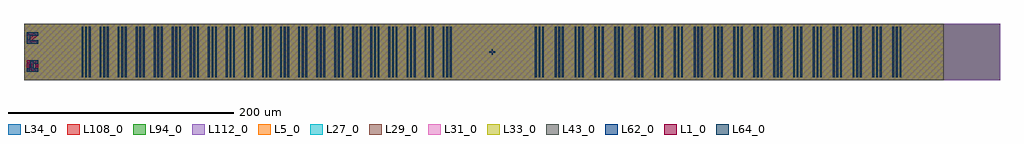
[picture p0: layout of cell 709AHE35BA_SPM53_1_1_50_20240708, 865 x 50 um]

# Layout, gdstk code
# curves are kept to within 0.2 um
from math import pi, radians
import gdstk
lib = gdstk.Library(unit=1e-6, precision=1e-09)
def R(c, l, rs):  # rectangles x0, y0, x1, y1
    for r in rs: c.add(gdstk.rectangle(r[:2], r[2:], *l))
def A(c, l, x, y, w, h, nx, ny, dx, dy):  # array of equal rectangles
    R(c, l, [(x+i*dx, y+j*dy, x+i*dx+w, y+j*dy+h) for i in range(nx) for j in range(ny)])
def P(c, l, *ps):  # polygons
    for p in ps: c.add(gdstk.Polygon(p, *l))
L1_0 = (1, 0)
L5_0 = (5, 0)
L27_0 = (27, 0)
L29_0 = (29, 0)
L31_0 = (31, 0)
L33_0 = (33, 0)
L34_0 = (34, 0)
L43_0 = (43, 0)
L62_0 = (62, 0)
L64_0 = (64, 0)
L94_0 = (94, 0)
L108_0 = (108, 0)
L112_0 = (112, 0)

spm53_800_50_1_6_45_0_t_ = lib.new_cell('SPM53_800_50_1_6_45_0_T_1_T')
A(spm53_800_50_1_6_45_0_t_, L1_0, 51, 2.5, 1.6, 45, 3, 1, 3.2, 0)
A(spm53_800_50_1_6_45_0_t_, L1_0, 67, 2.5, 1.6, 45, 3, 1, 3.2, 0)
A(spm53_800_50_1_6_45_0_t_, L1_0, 83, 2.5, 1.6, 45, 3, 1, 3.2, 0)
A(spm53_800_50_1_6_45_0_t_, L1_0, 99, 2.5, 1.6, 45, 3, 1, 3.2, 0)
A(spm53_800_50_1_6_45_0_t_, L1_0, 115, 2.5, 1.6, 45, 3, 1, 3.2, 0)
A(spm53_800_50_1_6_45_0_t_, L1_0, 131, 2.5, 1.6, 45, 3, 1, 3.2, 0)
A(spm53_800_50_1_6_45_0_t_, L1_0, 147, 2.5, 1.6, 45, 3, 1, 3.2, 0)
A(spm53_800_50_1_6_45_0_t_, L1_0, 163, 2.5, 1.6, 45, 3, 1, 3.2, 0)
A(spm53_800_50_1_6_45_0_t_, L1_0, 179, 2.5, 1.6, 45, 3, 1, 3.2, 0)
A(spm53_800_50_1_6_45_0_t_, L1_0, 195, 2.5, 1.6, 45, 3, 1, 3.2, 0)
A(spm53_800_50_1_6_45_0_t_, L1_0, 211, 2.5, 1.6, 45, 3, 1, 3.2, 0)
A(spm53_800_50_1_6_45_0_t_, L1_0, 227, 2.5, 1.6, 45, 3, 1, 3.2, 0)
A(spm53_800_50_1_6_45_0_t_, L1_0, 243, 2.5, 1.6, 45, 3, 1, 3.2, 0)
A(spm53_800_50_1_6_45_0_t_, L1_0, 259, 2.5, 1.6, 45, 3, 1, 3.2, 0)
A(spm53_800_50_1_6_45_0_t_, L1_0, 275, 2.5, 1.6, 45, 3, 1, 3.2, 0)
A(spm53_800_50_1_6_45_0_t_, L1_0, 291, 2.5, 1.6, 45, 3, 1, 3.2, 0)
A(spm53_800_50_1_6_45_0_t_, L1_0, 307, 2.5, 1.6, 45, 3, 1, 3.2, 0)
A(spm53_800_50_1_6_45_0_t_, L1_0, 323, 2.5, 1.6, 45, 3, 1, 3.2, 0)
A(spm53_800_50_1_6_45_0_t_, L1_0, 339, 2.5, 1.6, 45, 3, 1, 3.2, 0)
A(spm53_800_50_1_6_45_0_t_, L1_0, 355, 2.5, 1.6, 45, 3, 1, 3.2, 0)
A(spm53_800_50_1_6_45_0_t_, L1_0, 371, 2.5, 1.6, 45, 3, 1, 3.2, 0)
A(spm53_800_50_1_6_45_0_t_, L1_0, 452.8, 2.5, 1.6, 45, 3, 1, 3.2, 0)
A(spm53_800_50_1_6_45_0_t_, L1_0, 470.4, 2.5, 1.6, 45, 3, 1, 3.2, 0)
A(spm53_800_50_1_6_45_0_t_, L1_0, 488, 2.5, 1.6, 45, 3, 1, 3.2, 0)
A(spm53_800_50_1_6_45_0_t_, L1_0, 505.6, 2.5, 1.6, 45, 3, 1, 3.2, 0)
A(spm53_800_50_1_6_45_0_t_, L1_0, 523.2, 2.5, 1.6, 45, 3, 1, 3.2, 0)
A(spm53_800_50_1_6_45_0_t_, L1_0, 540.8, 2.5, 1.6, 45, 3, 1, 3.2, 0)
A(spm53_800_50_1_6_45_0_t_, L1_0, 558.4, 2.5, 1.6, 45, 3, 1, 3.2, 0)
A(spm53_800_50_1_6_45_0_t_, L1_0, 576, 2.5, 1.6, 45, 3, 1, 3.2, 0)
A(spm53_800_50_1_6_45_0_t_, L1_0, 593.6, 2.5, 1.6, 45, 3, 1, 3.2, 0)
A(spm53_800_50_1_6_45_0_t_, L1_0, 611.2, 2.5, 1.6, 45, 3, 1, 3.2, 0)
A(spm53_800_50_1_6_45_0_t_, L1_0, 628.8, 2.5, 1.6, 45, 3, 1, 3.2, 0)
A(spm53_800_50_1_6_45_0_t_, L1_0, 646.4, 2.5, 1.6, 45, 3, 1, 3.2, 0)
A(spm53_800_50_1_6_45_0_t_, L1_0, 664, 2.5, 1.6, 45, 3, 1, 3.2, 0)
A(spm53_800_50_1_6_45_0_t_, L1_0, 681.6, 2.5, 1.6, 45, 3, 1, 3.2, 0)
A(spm53_800_50_1_6_45_0_t_, L1_0, 699.2, 2.5, 1.6, 45, 3, 1, 3.2, 0)
A(spm53_800_50_1_6_45_0_t_, L1_0, 716.8, 2.5, 1.6, 45, 3, 1, 3.2, 0)
A(spm53_800_50_1_6_45_0_t_, L1_0, 734.4, 2.5, 1.6, 45, 3, 1, 3.2, 0)
A(spm53_800_50_1_6_45_0_t_, L1_0, 752, 2.5, 1.6, 45, 3, 1, 3.2, 0)
A(spm53_800_50_1_6_45_0_t_, L1_0, 769.6, 2.5, 1.6, 45, 3, 1, 3.2, 0)
P(spm53_800_50_1_6_45_0_t_, L1_0, [(415.5,24.5),(417.5,24.5),(417.5,25.5),(415.5,25.5),(415.5,27.5),(414.5,27.5),(414.5,25.5),(412.5,25.5),(412.5,24.5),(414.5,24.5),(414.5,22.5),(415.5,22.5)])
R(spm53_800_50_1_6_45_0_t_, L5_0, [(15,0,815,50)])
R(spm53_800_50_1_6_45_0_t_, L27_0, [(15,0,815,50)])
R(spm53_800_50_1_6_45_0_t_, L29_0, [(15,0,815,50)])
R(spm53_800_50_1_6_45_0_t_, L31_0, [(15,0,815,50)])
R(spm53_800_50_1_6_45_0_t_, L33_0, [(15,0,815,50)])
R(spm53_800_50_1_6_45_0_t_, L34_0, [(15,0,865,50)])
R(spm53_800_50_1_6_45_0_t_, L43_0, [(15,0,815,50)])
R(spm53_800_50_1_6_45_0_t_, L94_0, [(15,0,865,50)])
R(spm53_800_50_1_6_45_0_t_, L108_0, [(15,0,865,50)])
R(spm53_800_50_1_6_45_0_t_, L112_0, [(15,0,865,50)])

c_spm53_800_50_1_6_45_0_t_ = lib.new_cell('SPM53_800_50_1_6_45_0_T_1_name')
P(c_spm53_800_50_1_6_45_0_t_, L1_0, [(10,8.5),(15,2.5),(17.5,2.5),(17.5,12.5),(15,12.5),(15,6.5),(10,12.5),(7.5,12.5),(7.5,2.5),(10,2.5)],
  [(41.5,2.5),(42.5,3.5),(42.5,6.5),(41.5,7.5),(42.5,8.5),(42.5,11.5),(41.5,12.5),(32.5,12.5),(32.5,8.5),(35,8.5),(35,10.5),(40,10.5),(40,8.5),(32.5,8.5),(32.5,4.5),(35,4.5),(35,6.5),(40,6.5),(40,4.5),(32.5,4.5),(32.5,2.5)])
R(c_spm53_800_50_1_6_45_0_t_, L5_0, [(0,0,50,15)])
R(c_spm53_800_50_1_6_45_0_t_, L27_0, [(0,0,50,15)])
R(c_spm53_800_50_1_6_45_0_t_, L29_0, [(0,0,50,15)])
R(c_spm53_800_50_1_6_45_0_t_, L31_0, [(0,0,50,15)])
R(c_spm53_800_50_1_6_45_0_t_, L33_0, [(0,0,50,15)])
R(c_spm53_800_50_1_6_45_0_t_, L34_0, [(0,0,50,15)])
R(c_spm53_800_50_1_6_45_0_t_, L43_0, [(0,0,50,15)])
R(c_spm53_800_50_1_6_45_0_t_, L94_0, [(0,0,50,15)])
R(c_spm53_800_50_1_6_45_0_t_, L108_0, [(0,0,50,15)])
R(c_spm53_800_50_1_6_45_0_t_, L112_0, [(0,0,50,15)])

c_spm53_800_50_1_6_45_0_t__ = lib.new_cell('SPM53_800_50_1_6_45_0_T_62_T')
R(c_spm53_800_50_1_6_45_0_t__, L5_0, [(15,0,815,50)])
R(c_spm53_800_50_1_6_45_0_t__, L27_0, [(15,0,815,50)])
R(c_spm53_800_50_1_6_45_0_t__, L29_0, [(15,0,815,50)])
R(c_spm53_800_50_1_6_45_0_t__, L31_0, [(15,0,815,50)])
R(c_spm53_800_50_1_6_45_0_t__, L33_0, [(15,0,815,50)])
R(c_spm53_800_50_1_6_45_0_t__, L34_0, [(15,0,865,50)])
R(c_spm53_800_50_1_6_45_0_t__, L43_0, [(15,0,815,50)])
A(c_spm53_800_50_1_6_45_0_t__, L62_0, 51, 2.5, 1.6, 45, 3, 1, 3.2, 0)
A(c_spm53_800_50_1_6_45_0_t__, L62_0, 67, 2.5, 1.6, 45, 3, 1, 3.2, 0)
A(c_spm53_800_50_1_6_45_0_t__, L62_0, 83, 2.5, 1.6, 45, 3, 1, 3.2, 0)
A(c_spm53_800_50_1_6_45_0_t__, L62_0, 99, 2.5, 1.6, 45, 3, 1, 3.2, 0)
A(c_spm53_800_50_1_6_45_0_t__, L62_0, 115, 2.5, 1.6, 45, 3, 1, 3.2, 0)
A(c_spm53_800_50_1_6_45_0_t__, L62_0, 131, 2.5, 1.6, 45, 3, 1, 3.2, 0)
A(c_spm53_800_50_1_6_45_0_t__, L62_0, 147, 2.5, 1.6, 45, 3, 1, 3.2, 0)
A(c_spm53_800_50_1_6_45_0_t__, L62_0, 163, 2.5, 1.6, 45, 3, 1, 3.2, 0)
A(c_spm53_800_50_1_6_45_0_t__, L62_0, 179, 2.5, 1.6, 45, 3, 1, 3.2, 0)
A(c_spm53_800_50_1_6_45_0_t__, L62_0, 195, 2.5, 1.6, 45, 3, 1, 3.2, 0)
A(c_spm53_800_50_1_6_45_0_t__, L62_0, 211, 2.5, 1.6, 45, 3, 1, 3.2, 0)
A(c_spm53_800_50_1_6_45_0_t__, L62_0, 227, 2.5, 1.6, 45, 3, 1, 3.2, 0)
A(c_spm53_800_50_1_6_45_0_t__, L62_0, 243, 2.5, 1.6, 45, 3, 1, 3.2, 0)
A(c_spm53_800_50_1_6_45_0_t__, L62_0, 259, 2.5, 1.6, 45, 3, 1, 3.2, 0)
A(c_spm53_800_50_1_6_45_0_t__, L62_0, 275, 2.5, 1.6, 45, 3, 1, 3.2, 0)
A(c_spm53_800_50_1_6_45_0_t__, L62_0, 291, 2.5, 1.6, 45, 3, 1, 3.2, 0)
A(c_spm53_800_50_1_6_45_0_t__, L62_0, 307, 2.5, 1.6, 45, 3, 1, 3.2, 0)
A(c_spm53_800_50_1_6_45_0_t__, L62_0, 323, 2.5, 1.6, 45, 3, 1, 3.2, 0)
A(c_spm53_800_50_1_6_45_0_t__, L62_0, 339, 2.5, 1.6, 45, 3, 1, 3.2, 0)
A(c_spm53_800_50_1_6_45_0_t__, L62_0, 355, 2.5, 1.6, 45, 3, 1, 3.2, 0)
A(c_spm53_800_50_1_6_45_0_t__, L62_0, 371, 2.5, 1.6, 45, 3, 1, 3.2, 0)
A(c_spm53_800_50_1_6_45_0_t__, L62_0, 452.8, 2.5, 1.6, 45, 3, 1, 3.2, 0)
A(c_spm53_800_50_1_6_45_0_t__, L62_0, 470.4, 2.5, 1.6, 45, 3, 1, 3.2, 0)
A(c_spm53_800_50_1_6_45_0_t__, L62_0, 488, 2.5, 1.6, 45, 3, 1, 3.2, 0)
A(c_spm53_800_50_1_6_45_0_t__, L62_0, 505.6, 2.5, 1.6, 45, 3, 1, 3.2, 0)
A(c_spm53_800_50_1_6_45_0_t__, L62_0, 523.2, 2.5, 1.6, 45, 3, 1, 3.2, 0)
A(c_spm53_800_50_1_6_45_0_t__, L62_0, 540.8, 2.5, 1.6, 45, 3, 1, 3.2, 0)
A(c_spm53_800_50_1_6_45_0_t__, L62_0, 558.4, 2.5, 1.6, 45, 3, 1, 3.2, 0)
A(c_spm53_800_50_1_6_45_0_t__, L62_0, 576, 2.5, 1.6, 45, 3, 1, 3.2, 0)
A(c_spm53_800_50_1_6_45_0_t__, L62_0, 593.6, 2.5, 1.6, 45, 3, 1, 3.2, 0)
A(c_spm53_800_50_1_6_45_0_t__, L62_0, 611.2, 2.5, 1.6, 45, 3, 1, 3.2, 0)
A(c_spm53_800_50_1_6_45_0_t__, L62_0, 628.8, 2.5, 1.6, 45, 3, 1, 3.2, 0)
A(c_spm53_800_50_1_6_45_0_t__, L62_0, 646.4, 2.5, 1.6, 45, 3, 1, 3.2, 0)
A(c_spm53_800_50_1_6_45_0_t__, L62_0, 664, 2.5, 1.6, 45, 3, 1, 3.2, 0)
A(c_spm53_800_50_1_6_45_0_t__, L62_0, 681.6, 2.5, 1.6, 45, 3, 1, 3.2, 0)
A(c_spm53_800_50_1_6_45_0_t__, L62_0, 699.2, 2.5, 1.6, 45, 3, 1, 3.2, 0)
A(c_spm53_800_50_1_6_45_0_t__, L62_0, 716.8, 2.5, 1.6, 45, 3, 1, 3.2, 0)
A(c_spm53_800_50_1_6_45_0_t__, L62_0, 734.4, 2.5, 1.6, 45, 3, 1, 3.2, 0)
A(c_spm53_800_50_1_6_45_0_t__, L62_0, 752, 2.5, 1.6, 45, 3, 1, 3.2, 0)
A(c_spm53_800_50_1_6_45_0_t__, L62_0, 769.6, 2.5, 1.6, 45, 3, 1, 3.2, 0)
P(c_spm53_800_50_1_6_45_0_t__, L62_0, [(415.5,24.5),(417.5,24.5),(417.5,25.5),(415.5,25.5),(415.5,27.5),(414.5,27.5),(414.5,25.5),(412.5,25.5),(412.5,24.5),(414.5,24.5),(414.5,22.5),(415.5,22.5)])
R(c_spm53_800_50_1_6_45_0_t__, L94_0, [(15,0,865,50)])
R(c_spm53_800_50_1_6_45_0_t__, L108_0, [(15,0,865,50)])
R(c_spm53_800_50_1_6_45_0_t__, L112_0, [(15,0,865,50)])

c_spm53_800_50_1_6_45_0_t___ = lib.new_cell('SPM53_800_50_1_6_45_0_T_62_name')
R(c_spm53_800_50_1_6_45_0_t___, L5_0, [(0,0,50,15)])
R(c_spm53_800_50_1_6_45_0_t___, L27_0, [(0,0,50,15)])
R(c_spm53_800_50_1_6_45_0_t___, L29_0, [(0,0,50,15)])
R(c_spm53_800_50_1_6_45_0_t___, L31_0, [(0,0,50,15)])
R(c_spm53_800_50_1_6_45_0_t___, L33_0, [(0,0,50,15)])
R(c_spm53_800_50_1_6_45_0_t___, L34_0, [(0,0,50,15)])
R(c_spm53_800_50_1_6_45_0_t___, L43_0, [(0,0,50,15)])
P(c_spm53_800_50_1_6_45_0_t___, L62_0, [(17.5,12.5),(14.5,12.5),(14.5,5.5),(10.5,5.5),(10.5,12.5),(7.5,12.5),(7.5,2.5),(17.5,2.5)],
  [(42.5,5),(35.5,5),(35.5,6.3),(42.5,6.3),(42.5,12.5),(32.5,12.5),(32.5,10),(39.5,10),(39.5,8.8),(32.5,8.8),(32.5,2.5),(42.5,2.5)])
R(c_spm53_800_50_1_6_45_0_t___, L94_0, [(0,0,50,15)])
R(c_spm53_800_50_1_6_45_0_t___, L108_0, [(0,0,50,15)])
R(c_spm53_800_50_1_6_45_0_t___, L112_0, [(0,0,50,15)])

c_spm53_800_50_1_6_45_0_t____ = lib.new_cell('SPM53_800_50_1_6_45_0_T_64_T')
R(c_spm53_800_50_1_6_45_0_t____, L5_0, [(15,0,815,50)])
R(c_spm53_800_50_1_6_45_0_t____, L27_0, [(15,0,815,50)])
R(c_spm53_800_50_1_6_45_0_t____, L29_0, [(15,0,815,50)])
R(c_spm53_800_50_1_6_45_0_t____, L31_0, [(15,0,815,50)])
R(c_spm53_800_50_1_6_45_0_t____, L33_0, [(15,0,815,50)])
R(c_spm53_800_50_1_6_45_0_t____, L34_0, [(15,0,865,50)])
R(c_spm53_800_50_1_6_45_0_t____, L43_0, [(15,0,815,50)])
A(c_spm53_800_50_1_6_45_0_t____, L64_0, 51, 2.5, 1.6, 45, 3, 1, 3.2, 0)
A(c_spm53_800_50_1_6_45_0_t____, L64_0, 67, 2.5, 1.6, 45, 3, 1, 3.2, 0)
A(c_spm53_800_50_1_6_45_0_t____, L64_0, 83, 2.5, 1.6, 45, 3, 1, 3.2, 0)
A(c_spm53_800_50_1_6_45_0_t____, L64_0, 99, 2.5, 1.6, 45, 3, 1, 3.2, 0)
A(c_spm53_800_50_1_6_45_0_t____, L64_0, 115, 2.5, 1.6, 45, 3, 1, 3.2, 0)
A(c_spm53_800_50_1_6_45_0_t____, L64_0, 131, 2.5, 1.6, 45, 3, 1, 3.2, 0)
A(c_spm53_800_50_1_6_45_0_t____, L64_0, 147, 2.5, 1.6, 45, 3, 1, 3.2, 0)
A(c_spm53_800_50_1_6_45_0_t____, L64_0, 163, 2.5, 1.6, 45, 3, 1, 3.2, 0)
A(c_spm53_800_50_1_6_45_0_t____, L64_0, 179, 2.5, 1.6, 45, 3, 1, 3.2, 0)
A(c_spm53_800_50_1_6_45_0_t____, L64_0, 195, 2.5, 1.6, 45, 3, 1, 3.2, 0)
A(c_spm53_800_50_1_6_45_0_t____, L64_0, 211, 2.5, 1.6, 45, 3, 1, 3.2, 0)
A(c_spm53_800_50_1_6_45_0_t____, L64_0, 227, 2.5, 1.6, 45, 3, 1, 3.2, 0)
A(c_spm53_800_50_1_6_45_0_t____, L64_0, 243, 2.5, 1.6, 45, 3, 1, 3.2, 0)
A(c_spm53_800_50_1_6_45_0_t____, L64_0, 259, 2.5, 1.6, 45, 3, 1, 3.2, 0)
A(c_spm53_800_50_1_6_45_0_t____, L64_0, 275, 2.5, 1.6, 45, 3, 1, 3.2, 0)
A(c_spm53_800_50_1_6_45_0_t____, L64_0, 291, 2.5, 1.6, 45, 3, 1, 3.2, 0)
A(c_spm53_800_50_1_6_45_0_t____, L64_0, 307, 2.5, 1.6, 45, 3, 1, 3.2, 0)
A(c_spm53_800_50_1_6_45_0_t____, L64_0, 323, 2.5, 1.6, 45, 3, 1, 3.2, 0)
A(c_spm53_800_50_1_6_45_0_t____, L64_0, 339, 2.5, 1.6, 45, 3, 1, 3.2, 0)
A(c_spm53_800_50_1_6_45_0_t____, L64_0, 355, 2.5, 1.6, 45, 3, 1, 3.2, 0)
A(c_spm53_800_50_1_6_45_0_t____, L64_0, 371, 2.5, 1.6, 45, 3, 1, 3.2, 0)
A(c_spm53_800_50_1_6_45_0_t____, L64_0, 452.8, 2.5, 1.6, 45, 3, 1, 3.2, 0)
A(c_spm53_800_50_1_6_45_0_t____, L64_0, 470.4, 2.5, 1.6, 45, 3, 1, 3.2, 0)
A(c_spm53_800_50_1_6_45_0_t____, L64_0, 488, 2.5, 1.6, 45, 3, 1, 3.2, 0)
A(c_spm53_800_50_1_6_45_0_t____, L64_0, 505.6, 2.5, 1.6, 45, 3, 1, 3.2, 0)
A(c_spm53_800_50_1_6_45_0_t____, L64_0, 523.2, 2.5, 1.6, 45, 3, 1, 3.2, 0)
A(c_spm53_800_50_1_6_45_0_t____, L64_0, 540.8, 2.5, 1.6, 45, 3, 1, 3.2, 0)
A(c_spm53_800_50_1_6_45_0_t____, L64_0, 558.4, 2.5, 1.6, 45, 3, 1, 3.2, 0)
A(c_spm53_800_50_1_6_45_0_t____, L64_0, 576, 2.5, 1.6, 45, 3, 1, 3.2, 0)
A(c_spm53_800_50_1_6_45_0_t____, L64_0, 593.6, 2.5, 1.6, 45, 3, 1, 3.2, 0)
A(c_spm53_800_50_1_6_45_0_t____, L64_0, 611.2, 2.5, 1.6, 45, 3, 1, 3.2, 0)
A(c_spm53_800_50_1_6_45_0_t____, L64_0, 628.8, 2.5, 1.6, 45, 3, 1, 3.2, 0)
A(c_spm53_800_50_1_6_45_0_t____, L64_0, 646.4, 2.5, 1.6, 45, 3, 1, 3.2, 0)
A(c_spm53_800_50_1_6_45_0_t____, L64_0, 664, 2.5, 1.6, 45, 3, 1, 3.2, 0)
A(c_spm53_800_50_1_6_45_0_t____, L64_0, 681.6, 2.5, 1.6, 45, 3, 1, 3.2, 0)
A(c_spm53_800_50_1_6_45_0_t____, L64_0, 699.2, 2.5, 1.6, 45, 3, 1, 3.2, 0)
A(c_spm53_800_50_1_6_45_0_t____, L64_0, 716.8, 2.5, 1.6, 45, 3, 1, 3.2, 0)
A(c_spm53_800_50_1_6_45_0_t____, L64_0, 734.4, 2.5, 1.6, 45, 3, 1, 3.2, 0)
A(c_spm53_800_50_1_6_45_0_t____, L64_0, 752, 2.5, 1.6, 45, 3, 1, 3.2, 0)
A(c_spm53_800_50_1_6_45_0_t____, L64_0, 769.6, 2.5, 1.6, 45, 3, 1, 3.2, 0)
P(c_spm53_800_50_1_6_45_0_t____, L64_0, [(415.5,24.5),(417.5,24.5),(417.5,25.5),(415.5,25.5),(415.5,27.5),(414.5,27.5),(414.5,25.5),(412.5,25.5),(412.5,24.5),(414.5,24.5),(414.5,22.5),(415.5,22.5)])
R(c_spm53_800_50_1_6_45_0_t____, L94_0, [(15,0,865,50)])
R(c_spm53_800_50_1_6_45_0_t____, L108_0, [(15,0,865,50)])
R(c_spm53_800_50_1_6_45_0_t____, L112_0, [(15,0,865,50)])

c_spm53_800_50_1_6_45_0_t_____ = lib.new_cell('SPM53_800_50_1_6_45_0_T_64_name')
R(c_spm53_800_50_1_6_45_0_t_____, L5_0, [(0,0,50,15)])
R(c_spm53_800_50_1_6_45_0_t_____, L27_0, [(0,0,50,15)])
R(c_spm53_800_50_1_6_45_0_t_____, L29_0, [(0,0,50,15)])
R(c_spm53_800_50_1_6_45_0_t_____, L31_0, [(0,0,50,15)])
R(c_spm53_800_50_1_6_45_0_t_____, L33_0, [(0,0,50,15)])
R(c_spm53_800_50_1_6_45_0_t_____, L34_0, [(0,0,50,15)])
R(c_spm53_800_50_1_6_45_0_t_____, L43_0, [(0,0,50,15)])
P(c_spm53_800_50_1_6_45_0_t_____, L64_0, [(17.5,12.5),(14.5,12.5),(14.5,5.5),(10.5,5.5),(10.5,12.5),(7.5,12.5),(7.5,2.5),(17.5,2.5)],
  [(42.5,12.5),(39.5,12.5),(39.5,8.5),(35.5,8.5),(35.5,12.5),(32.5,12.5),(32.5,5.5),(39.5,5.5),(39.5,2.5),(42.5,2.5)])
R(c_spm53_800_50_1_6_45_0_t_____, L94_0, [(0,0,50,15)])
R(c_spm53_800_50_1_6_45_0_t_____, L108_0, [(0,0,50,15)])
R(c_spm53_800_50_1_6_45_0_t_____, L112_0, [(0,0,50,15)])

c_709ahe35ba_spm53_1_1_50_ = lib.new_cell('709AHE35BA_SPM53_1_1_50_20240708')
c_709ahe35ba_spm53_1_1_50_.add(gdstk.Reference(spm53_800_50_1_6_45_0_t_, (0,0)))
c_709ahe35ba_spm53_1_1_50_.add(gdstk.Reference(c_spm53_800_50_1_6_45_0_t_, (0,50), rotation=3*pi/2))
c_709ahe35ba_spm53_1_1_50_.add(gdstk.Reference(c_spm53_800_50_1_6_45_0_t__, (0,0)))
c_709ahe35ba_spm53_1_1_50_.add(gdstk.Reference(c_spm53_800_50_1_6_45_0_t___, (0,50), rotation=3*pi/2))
c_709ahe35ba_spm53_1_1_50_.add(gdstk.Reference(c_spm53_800_50_1_6_45_0_t____, (0,0)))
c_709ahe35ba_spm53_1_1_50_.add(gdstk.Reference(c_spm53_800_50_1_6_45_0_t_____, (0,50), rotation=3*pi/2))

lib.write_gds('709AHE35BA_SPM53_1_1_50_20240708.gds')
